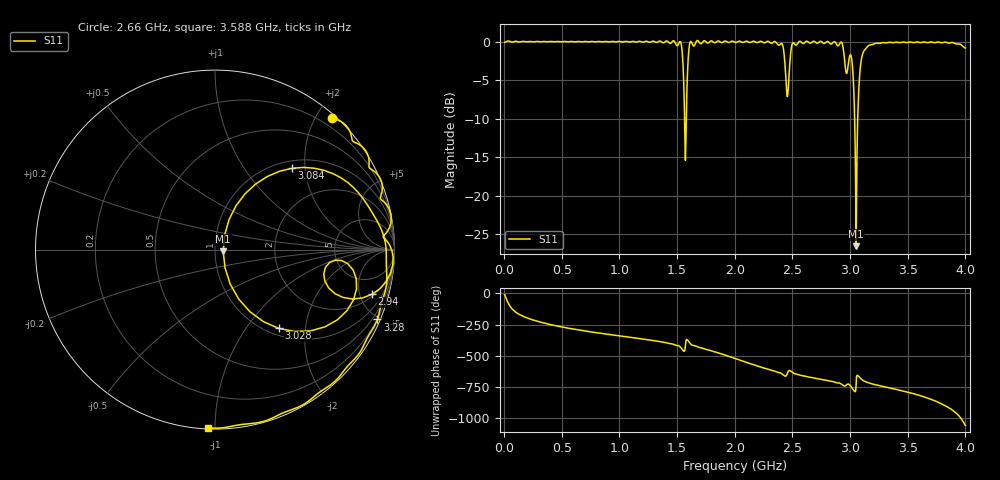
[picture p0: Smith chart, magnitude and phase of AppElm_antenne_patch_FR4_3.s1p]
! TOUCHSTONE file generated by CST MICROWAVE STUDIO
! Date and time: Tue Jun  7 20:51:52 2022
! Project name: AppElm_antenne_patch_FR4.cst
! Parameters = {L=45; W=58.5; e=0.035; h=1.6; lambda=0.190476; ls=120; w0=1.6; w1=0.533333; ws=120; y0=20; y1=20.24}
! Header version: 2018
! Port assignment regex: !\s*Touchstone port\s*([0-9]+)\s*=\s*(CST MWS port|CST DS port)\s*([0-9]+|Zmin|Zmax)\s*\(\"(.*)\"\)(\s*mode\s*([0-9]+))?.*
! Touchstone port assignment:
! Touchstone port 1 = CST MWS port 1 ("")
# GHz S MA R 50
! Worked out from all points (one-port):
!   1000 points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, 4 MHz to 4 GHz, reference 50 ohm
!   lowest |S11| = -26.6 dB at 3.052 GHz (marker M1), VSWR 1.10, Z = 54.8 - j1.13 ohm
!   |S11| at or under -10 dB: 1.565 GHz to 1.58 GHz (14.95 MHz wide, 0.951 % of centre); 3.039 GHz to 3.066 GHz (26.91 MHz wide, 0.881 % of centre)
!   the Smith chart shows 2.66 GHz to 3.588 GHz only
!   S11 on the Smith chart (normalised r, x): 2.66 GHz: 0.06, +2.23; 2.94 GHz: 2.23, -6.39; 3.028 GHz: 1.12, -1.44; 3.084 GHz: 1.15, +1.70; 3.28 GHz: 0.19, -4.85; 3.588 GHz: 0.01, -0.96
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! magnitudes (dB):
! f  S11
! 4 MHz  -0.1
! 504 MHz  0.0
! 1.004 GHz  0.0
! 1.504 GHz  -0.5
! 1.536 GHz  -0.4
! 1.56 GHz  -6.8
! 1.572 GHz  -15.4
! 1.584 GHz  -6.9
! 1.604 GHz  -0.8
! 1.62 GHz  0.0
! 2.004 GHz  -0.1
! 2.4 GHz  -0.3
! 2.456 GHz  -7.2
! 2.504 GHz  -0.2
! 2.66 GHz  -0.2
! 2.94 GHz  -0.8
! 2.968 GHz  -4.1
! 3.004 GHz  -1.7
! 3.028 GHz  -5.0
! 3.04 GHz  -10.3
! 3.052 GHz  -26.6
! 3.068 GHz  -9.0
! 3.084 GHz  -4.1
! 3.128 GHz  -1.1
! 3.28 GHz  -0.1
! 3.504 GHz  -0.1
! 3.588 GHz  -0.1
! 4 GHz  -0.8
